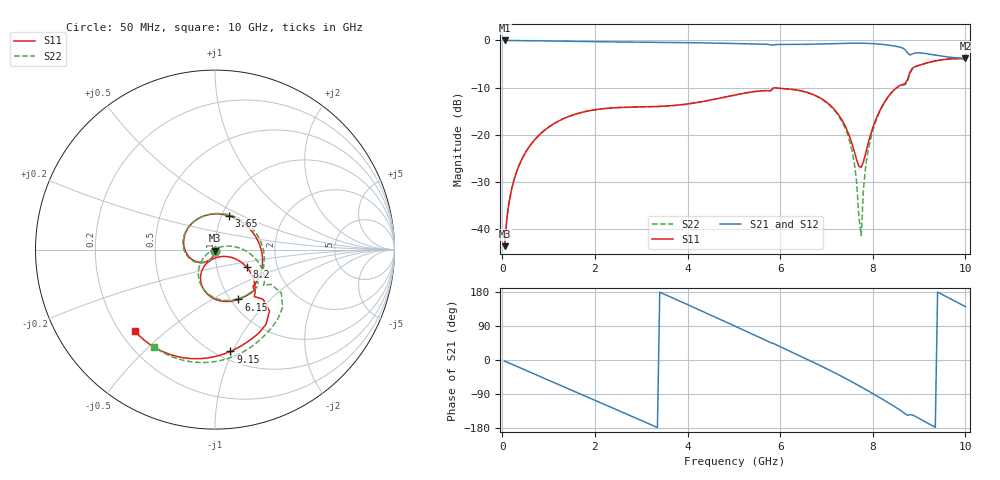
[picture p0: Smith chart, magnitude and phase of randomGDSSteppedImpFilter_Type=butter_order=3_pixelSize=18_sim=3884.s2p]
! freq	dB(S11)	phase(S11)	dB(S12)	phase(S12)
!  dB(S21)	phase(S21)	dB(S22)	phase(S22)
!S-par simulation data
#  GHz  S  DB  R 50
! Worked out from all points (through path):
!   200 points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, 50 MHz to 10 GHz, reference 50 ohm
!   highest |S21| = -0.01 dB at 50 MHz (marker M1); lowest = -3.8 dB at 10 GHz (marker M2)
!   group delay of S21, straight-line fit = 160 ps
!   lowest |S11| = -43.6 dB at 50 MHz (marker M3), VSWR 1.01, Z = 50 - j0.661 ohm
!   |S11| at or under -10 dB: start of sweep to 8.517 GHz
!   |S22| runs from -43.6 to -3.8 dB; largest |S21 - S12| = 0
!   S11 on the Smith chart (normalised r, x): 50 MHz: 1.00, -0.01; 3.65 GHz: 1.08, +0.42; 6.15 GHz: 1.09, -0.67; 8.2 GHz: 1.39, -0.28; 9.15 GHz: 0.58, -0.98; 10 GHz: 0.26, -0.40
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0.05  -43.58 -92.3  -0.01 -2.8  -0.01 -2.8  -43.59 -92.1
0.2  -31.56 -101.2  -0.03 -10.8  -0.03 -10.8  -31.57 -100.7
0.5  -23.77 -118.0  -0.06 -26.8  -0.06 -26.8  -23.77 -116.6
1.15  -17.43 -153.8  -0.15 -61.3  -0.15 -61.3  -17.44 -150.5
1.75  -15.16 173.2  -0.24 -93.0  -0.24 -93.0  -15.17 178.7
2.65  -14.16 123.4  -0.34 -140.6  -0.34 -140.6  -14.18 133.0
3.4  -13.97 81.4  -0.40 179.0  -0.40 179.0  -14.00 94.3
3.65  -13.82 67.5  -0.43 165.4  -0.43 165.4  -13.85 81.1
4.4  -12.81 26.7  -0.54 124.1  -0.54 124.1  -12.84 40.1
5.05  -11.51 -7.7  -0.67 87.9  -0.67 87.9  -11.52 3.4
6.15  -10.26 -64.8  -0.86 26.7  -0.86 26.7  -10.28 -59.1
6.7  -11.41 -93.2  -0.81 -4.9  -0.81 -4.9  -11.46 -91.1
7.45  -19.13 -122.9  -0.61 -51.1  -0.61 -51.1  -19.81 -138.7
7.6  -23.48 -114.4  -0.59 -61.0  -0.59 -61.0  -25.91 -151.0
7.75  -26.89 -67.3  -0.59 -71.1  -0.59 -71.1  -41.34 68.9
7.8  -25.67 -48.4  -0.60 -74.6  -0.60 -74.6  -31.33 29.0
7.9  -21.82 -29.1  -0.63 -81.5  -0.63 -81.5  -23.30 16.6
8.2  -13.96 -28.8  -0.84 -102.9  -0.84 -102.9  -14.11 -6.7
8.35  -11.70 -35.9  -1.01 -113.8  -1.01 -113.8  -11.77 -17.6
8.8  -6.78 -48.5  -3.08 -144.7  -3.08 -144.7  -7.09 -33.2
9.15  -4.83 -81.4  -2.79 -164.6  -2.79 -164.6  -4.81 -68.2
10  -3.92 -134.3  -3.79 140.9  -3.79 140.9  -3.88 -122.3
